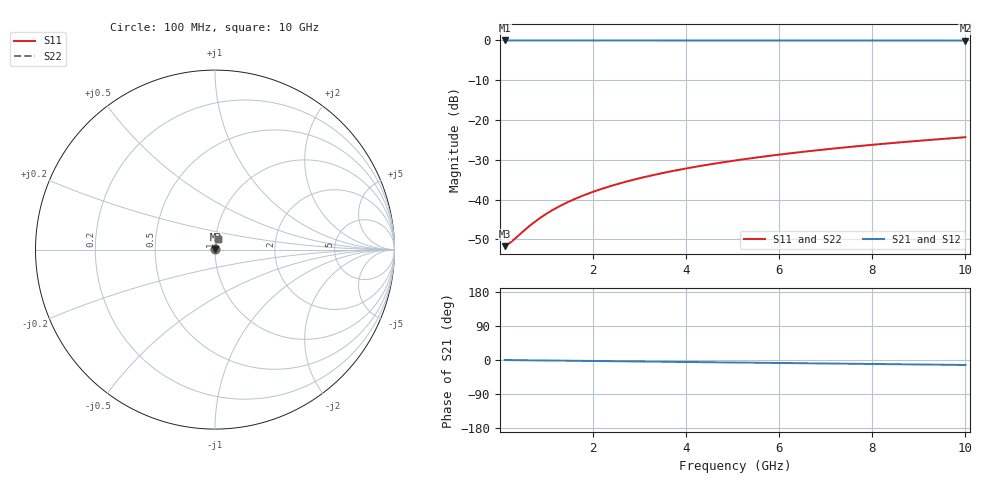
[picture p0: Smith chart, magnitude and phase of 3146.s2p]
# Hz S RI R 50.00
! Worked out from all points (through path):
!   100 points, 100 MHz to 10 GHz, reference 50 ohm
!   highest |S21| = -0.02 dB at 100 MHz (marker M1); lowest = 0.0 dB at 10 GHz (marker M2)
!   group delay of S21, straight-line fit = 3.64 ps
!   lowest |S11| = -51.7 dB at 100 MHz (marker M3), VSWR 1.01, Z = 50.3 + j0.061 ohm
!   |S11| at or under -10 dB: start of sweep to end of sweep
!   |S22| runs from -51.7 to -24.3 dB; largest |S21 - S12| = 0
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1e8  0.00253 0.000607  0.9975 -0.00228  0.9975 -0.00228  0.00253 0.000607
2e8  0.00255 0.00121  0.9974 -0.00456  0.9974 -0.00456  0.00255 0.00121
3e8  0.00257 0.00182  0.9974 -0.00684  0.9974 -0.00684  0.00257 0.00182
5e8  0.00261 0.00304  0.9973 -0.0114  0.9973 -0.0114  0.00261 0.00304
7e8  0.00266 0.00425  0.9973 -0.016  0.9973 -0.016  0.00266 0.00425
8e8  0.00268 0.00486  0.9972 -0.0182  0.9972 -0.0182  0.00268 0.00486
1e9  0.00274 0.00607  0.9971 -0.0228  0.9971 -0.0228  0.00274 0.00607
1.2e9  0.00281 0.00728  0.997 -0.0274  0.997 -0.0274  0.00281 0.00728
1.4e9  0.00289 0.00849  0.9968 -0.0319  0.9968 -0.0319  0.00289 0.00849
1.6e9  0.00298 0.0097  0.9966 -0.0365  0.9966 -0.0365  0.00298 0.0097
1.8e9  0.00309 0.0109  0.9964 -0.041  0.9964 -0.041  0.00309 0.0109
2.1e9  0.00326 0.0127  0.9961 -0.0479  0.9961 -0.0479  0.00326 0.0127
2.5e9  0.00352 0.0151  0.9956 -0.057  0.9956 -0.057  0.00352 0.0151
2.9e9  0.00383 0.0175  0.9949 -0.0661  0.9949 -0.0661  0.00383 0.0175
3.4e9  0.00428 0.0205  0.994 -0.0774  0.994 -0.0774  0.00428 0.0205
4.2e9  0.00514 0.0253  0.9923 -0.0956  0.9923 -0.0956  0.00514 0.0253
5.1e9  0.00631 0.0307  0.99 -0.116  0.99 -0.116  0.00631 0.0307
5.9e9  0.00754 0.0353  0.9875 -0.1341  0.9875 -0.1341  0.00754 0.0353
6.7e9  0.00893 0.04  0.9846 -0.1522  0.9846 -0.1522  0.00893 0.04
7.5e9  0.0105 0.0446  0.9815 -0.1701  0.9815 -0.1701  0.0105 0.0446
8.4e9  0.0125 0.0497  0.9775 -0.1903  0.9775 -0.1903  0.0125 0.0497
1e10  0.0165 0.0585  0.9692 -0.2259  0.9692 -0.2259  0.0165 0.0585
